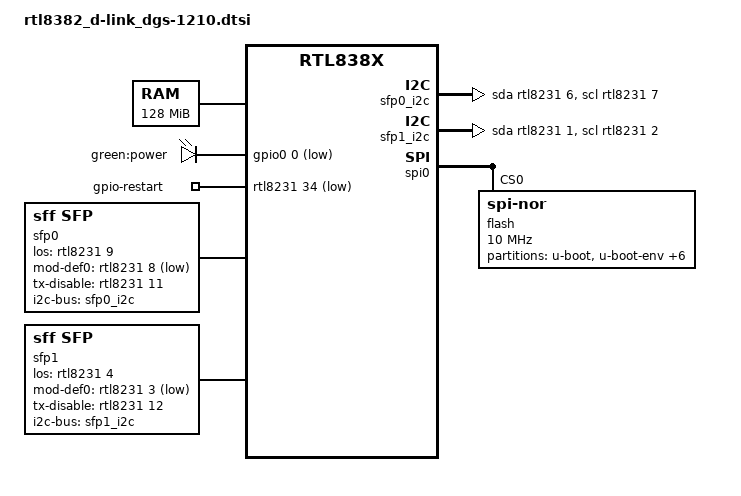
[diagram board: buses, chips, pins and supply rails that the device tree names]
// SPDX-License-Identifier: GPL-2.0-or-later OR MIT

#include "rtl838x.dtsi"

#include <dt-bindings/input/input.h>
#include <dt-bindings/gpio/gpio.h>

/ {
	aliases {
		led-boot = &led_power;
		led-failsafe = &led_power;
		led-running = &led_power;
		led-upgrade = &led_power;
	};

	memory@0 {
		device_type = "memory";
		reg = <0x0 0x8000000>;
	};

	leds {
		compatible = "gpio-leds";

		led_power: power {
			label = "green:power";
			gpios = <&gpio0 0 GPIO_ACTIVE_LOW>;
		};
	};

	rtl8231: rtl8231-gpio {
		compatible = "realtek,rtl8231-gpio";
		#gpio-cells = <2>;
		indirect-access-bus-id = <0>;
		gpio-controller;
	};

	gpio-restart {
		compatible = "gpio-restart";
		gpios = <&rtl8231 34 GPIO_ACTIVE_LOW>;
		open-source;
	};

	/* These two SFP ports are present on the whole DGS series */
	sfp0_i2c: sfp0-i2c-gpio {
		compatible = "i2c-gpio";
		sda-gpios = <&rtl8231 6 (GPIO_ACTIVE_HIGH | GPIO_OPEN_DRAIN)>;
		scl-gpios = <&rtl8231 7 (GPIO_ACTIVE_HIGH | GPIO_OPEN_DRAIN)>;
	};

	sfp0: sfp0 {
		compatible = "sff,sfp";
		i2c-bus = <&sfp0_i2c>;
		los-gpio = <&rtl8231 9 GPIO_ACTIVE_HIGH>;
		mod-def0-gpio = <&rtl8231 8 GPIO_ACTIVE_LOW>;
		tx-disable-gpio = <&rtl8231 11 GPIO_ACTIVE_HIGH>;
	};

	sfp1_i2c: sfp1-i2c-gpio {
		compatible = "i2c-gpio";
		sda-gpios = <&rtl8231 1 (GPIO_ACTIVE_HIGH | GPIO_OPEN_DRAIN)>;
		scl-gpios = <&rtl8231 2 (GPIO_ACTIVE_HIGH | GPIO_OPEN_DRAIN)>;
	};

	sfp1: sfp1 {
		compatible = "sff,sfp";
		i2c-bus = <&sfp1_i2c>;
		los-gpio = <&rtl8231 4 GPIO_ACTIVE_HIGH>;
		mod-def0-gpio = <&rtl8231 3 GPIO_ACTIVE_LOW>;
		tx-disable-gpio = <&rtl8231 12 GPIO_ACTIVE_HIGH>;
 	};
};

&gpio0 {
	indirect-access-bus-id = <0>;
};

&spi0 {
	status = "okay";
	flash@0 {
		compatible = "jedec,spi-nor";
		reg = <0>;
		spi-max-frequency = <10000000>;

		partitions {
			compatible = "fixed-partitions";
			#address-cells = <1>;
			#size-cells = <1>;

			partition@0 {
				label = "u-boot";
				reg = <0x00000000 0x80000>;
				read-only;
			};
			partition@80000 {
				label = "u-boot-env";
				reg = <0x00080000 0x40000>;
				read-only;
			};
			partition@c0000 {
				label = "u-boot-env2";
				reg = <0x000c0000 0x40000>;
			};
			partition@280000 {
				label = "firmware";
				compatible = "denx,uimage";
				reg = <0x00100000 0xd80000>;
			};
			partition@be80000 {
				label = "kernel2";
				reg = <0x00e80000 0x180000>;
			};
			partition@1000000 {
				label = "sysinfo";
				reg = <0x01000000 0x40000>;
			};
			partition@1040000 {
				label = "rootfs2";
				reg = <0x01040000 0xc00000>;
			};
			partition@1c40000 {
				label = "jffs2";
				reg = <0x01c40000 0x3c0000>;
			};
		};
	};
};
